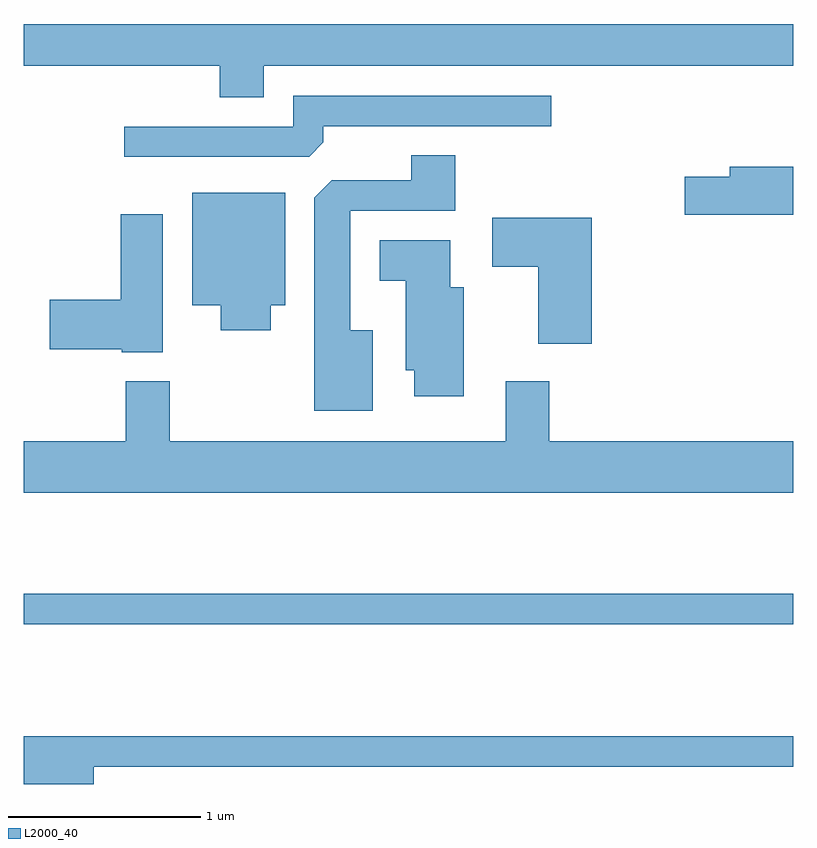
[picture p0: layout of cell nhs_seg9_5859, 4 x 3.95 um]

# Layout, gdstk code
import gdstk
lib = gdstk.Library(unit=1e-6, precision=1e-09)
def R(c, l, rs):  # rectangles x0, y0, x1, y1
    for r in rs: c.add(gdstk.rectangle(r[:2], r[2:], *l))
def P(c, l, *ps):  # polygons
    for p in ps: c.add(gdstk.Polygon(p, *l))
L2000_40 = (2000, 40)

nhs_seg9_5859 = lib.new_cell('nhs_seg9_5859')
R(nhs_seg9_5859, L2000_40, [(357.611,2033.311,361.611,2033.469)])
P(nhs_seg9_5859, L2000_40, [(358.859,2036.216),(361.611,2036.216),(361.611,2036.432),(357.611,2036.432),(357.611,2036.216),(358.631,2036.216),(358.631,2036.051),(358.859,2036.051)],
  [(359.169,2035.817),(359.169,2035.901),(360.353,2035.901),(360.353,2036.059),(359.011,2036.059),(359.011,2035.899),(358.133,2035.899),(358.133,2035.741),(359.094,2035.741)],
  [(359.424,2034.839),(359.309,2034.839),(359.309,2035.461),(359.854,2035.461),(359.854,2035.749),(359.626,2035.749),(359.626,2035.619),(359.212,2035.619),(359.121,2035.529),(359.121,2034.421),(359.424,2034.421)],
  [(361.611,2035.689),(361.281,2035.689),(361.281,2035.639),(361.046,2035.639),(361.046,2035.441),(361.611,2035.441)],
  [(358.894,2034.971),(358.969,2034.971),(358.969,2035.554),(358.486,2035.554),(358.486,2034.971),(358.636,2034.971),(358.636,2034.841),(358.894,2034.841)],
  [(358.334,2035.444),(358.116,2035.444),(358.116,2034.999),(357.746,2034.999),(357.746,2034.741),(358.12,2034.741),(358.12,2034.726),(358.334,2034.726)],
  [(360.564,2035.424),(360.046,2035.424),(360.046,2035.171),(360.286,2035.171),(360.286,2034.771),(360.564,2034.771)],
  [(359.899,2035.064),(359.829,2035.064),(359.829,2035.309),(359.461,2035.309),(359.461,2035.096),(359.596,2035.096),(359.596,2034.631),(359.641,2034.631),(359.641,2034.496),(359.899,2034.496)],
  [(361.611,2034.264),(360.344,2034.264),(360.344,2034.574),(360.116,2034.574),(360.116,2034.264),(358.369,2034.264),(358.369,2034.574),(358.141,2034.574),(358.141,2034.264),(357.611,2034.264),(357.611,2033.996),(361.611,2033.996)],
  [(357.974,2032.571),(361.611,2032.571),(361.611,2032.729),(357.611,2032.729),(357.611,2032.481),(357.974,2032.481)])

lib.write_gds('nhs_seg9_5859.gds')
